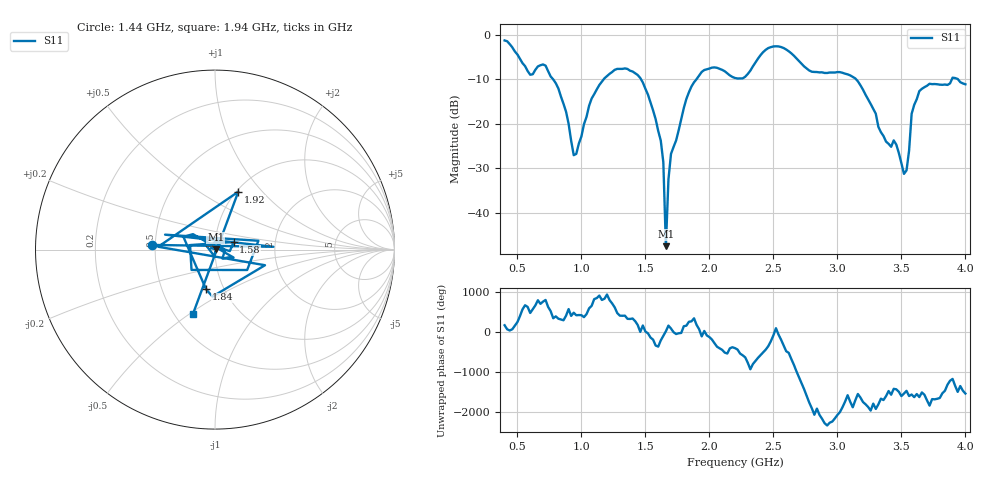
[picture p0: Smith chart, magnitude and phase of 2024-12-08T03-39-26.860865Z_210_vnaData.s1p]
!Created with skrf (http://scikit-rf.org).
# Hz S RI R 50.0
!freq ReS11 ImS11
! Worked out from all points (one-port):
!   181 points, 400 MHz to 4 GHz, reference 50 ohm
!   lowest |S11| = -47.5 dB at 1.66 GHz (marker M1), VSWR 1.01, Z = 50.4 + j0.138 ohm
!   |S11| at or under -10 dB: 778.2 MHz to 1.175 GHz (396.7 MHz wide, 40.6 % of centre); 1.465 GHz to 1.9 GHz (434.4 MHz wide, 25.8 % of centre); 3.145 GHz to 3.895 GHz (749.4 MHz wide, 21.3 % of centre) (the widest 3 of 4)
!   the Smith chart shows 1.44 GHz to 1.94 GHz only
!   S11 on the Smith chart (normalised r, x): 1.44 GHz: 0.48, +0.03; 1.58 GHz: 1.23, +0.11; 1.84 GHz: 0.82, -0.38; 1.92 GHz: 1.02, +0.75; 1.94 GHz: 0.61, -0.52
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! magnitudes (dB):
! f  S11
! 400 MHz  -1.3
! 600 MHz  -9.0
! 720 MHz  -7.0
! 860 MHz  -15.5
! 960 MHz  -26.8
! 1.08 GHz  -14.3
! 1.3 GHz  -7.7
! 1.44 GHz  -9.1
! 1.58 GHz  -19.0
! 1.64 GHz  -28.6
! 1.66 GHz  -47.5
! 1.68 GHz  -32.5
! 1.7 GHz  -26.8
! 1.76 GHz  -21.4
! 1.84 GHz  -12.9
! 1.92 GHz  -9.2
! 1.94 GHz  -8.4
! 2.2 GHz  -9.7
! 2.46 GHz  -3.0
! 2.66 GHz  -4.7
! 3.1 GHz  -9.1
! 3.38 GHz  -24.0
! 3.46 GHz  -24.7
! 3.52 GHz  -31.2
! 3.56 GHz  -26.1
! 3.58 GHz  -17.8
! 3.64 GHz  -12.7
! 4 GHz  -11.1
